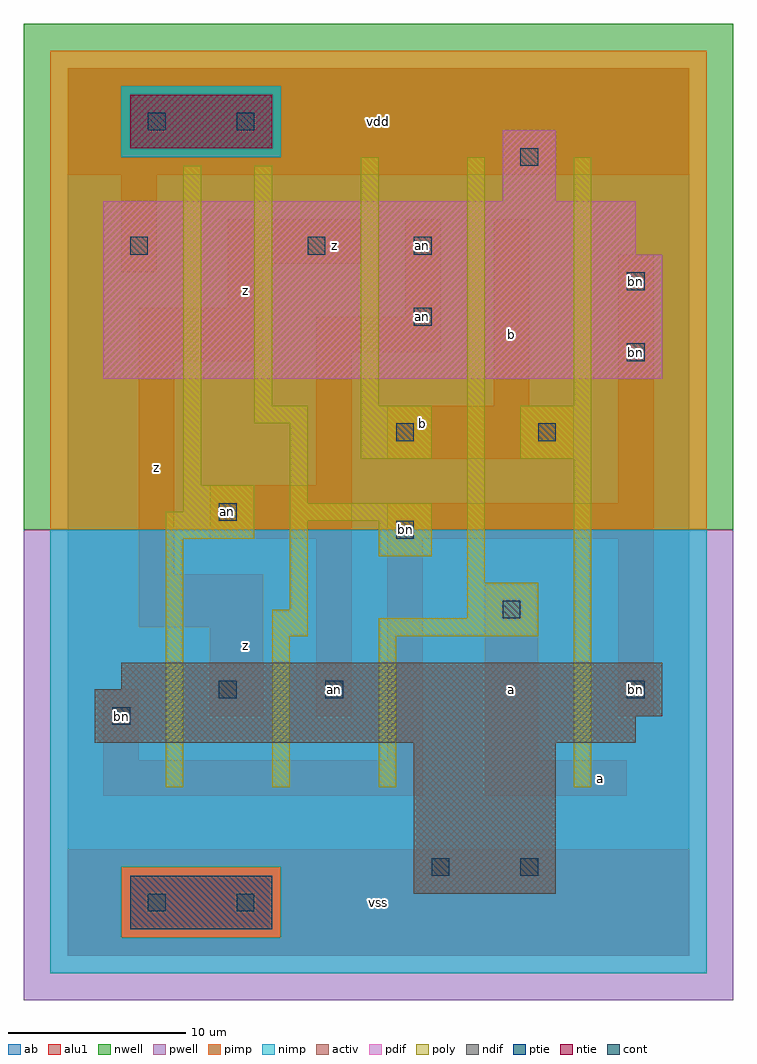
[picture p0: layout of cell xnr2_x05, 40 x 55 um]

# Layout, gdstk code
import gdstk
lib = gdstk.Library(unit=1e-6, precision=1e-09)
def R(c, l, rs):  # rectangles x0, y0, x1, y1
    for r in rs: c.add(gdstk.rectangle(r[:2], r[2:], *l))
ndif = (3, 0)
pdif = (4, 0)
ntie = (5, 0)
ptie = (6, 0)
cont = (25, 0)
pwell = (41, 0)
nwell = (42, 0)
activ = (43, 0)
pimp = (44, 0)
nimp = (45, 0)
poly = (46, 0)
alu1 = (49, 0)
ab = (63, 0)

xnr2_x05 = lib.new_cell('xnr2_x05')
R(xnr2_x05, ndif, [(19.5,3.5,27.5,12), (1.5,12,32,13.5), (1.5,13.5,33.5,15), (3,15,33.5,16.5)])
R(xnr2_x05, pdif, [(2,32.5,33.5,39.5), (2,39.5,32,42.5), (24.5,42.5,27.5,46.5)])
R(xnr2_x05, ntie, [(3.5,45.5,11.5,48.5)])
R(xnr2_x05, ptie, [(3.5,1.5,11.5,4.5)])
R(xnr2_x05, cont, [(4.5,2.5,5.5,3.5), (9.5,2.5,10.5,3.5), (20.5,4.5,21.5,5.5), (25.5,4.5,26.5,5.5), (2.5,13,3.5,14), (8.5,14.5,9.5,15.5), (14.5,14.5,15.5,15.5), (31.5,14.5,32.5,15.5), (24.5,19,25.5,20), (18.5,23.5,19.5,24.5), (8.5,24.5,9.5,25.5), (18.5,29,19.5,30), (26.5,29,27.5,30), (31.5,33.5,32.5,34.5), (19.5,35.5,20.5,36.5), (31.5,37.5,32.5,38.5), (3.5,39.5,4.5,40.5), (13.5,39.5,14.5,40.5), (19.5,39.5,20.5,40.5), (25.5,44.5,26.5,45.5), (4.5,46.5,5.5,47.5), (9.5,46.5,10.5,47.5)])
R(xnr2_x05, pwell, [(-2.5,-2.5,37.5,24)])
R(xnr2_x05, nwell, [(-2.5,24,37.5,52.5)])
R(xnr2_x05, activ, [(3.5,1.5,11.5,4.5), (19.5,3.5,27.5,12), (1.5,12,32,13.5), (1.5,13.5,33.5,15), (3,15,33.5,16.5), (2,32.5,33.5,39.5), (2,39.5,32,42.5), (24.5,42.5,27.5,46.5), (3.5,45.5,11.5,48.5)])
R(xnr2_x05, pimp, [(3,1,12,5), (-1,24,36,45), (-1,45,3,49), (12,45,36,49), (-1,49,36,51)])
R(xnr2_x05, nimp, [(-1,-1,36,1), (-1,1,3,5), (12,1,36,5), (-1,5,36,24), (3,45,12,49)])
R(xnr2_x05, poly, [(5.5,9.5,6.5,23.5), (11.5,9.5,12.5,18), (17.5,9.5,18.5,18), (28.5,9.5,29.5,28), (11.5,18,13.5,19.5), (17.5,18,26.5,19), (22.5,19,26.5,21), (12.5,19.5,13.5,24.5), (22.5,21,23.5,45), (17.5,22.5,20.5,24.5), (5.5,23.5,10.5,25), (12.5,24.5,20.5,25.5), (6.5,25,10.5,26.5), (12.5,25.5,13.5,30), (6.5,26.5,7.5,44.5), (16.5,28,20.5,31), (25.5,28,29.5,31), (10.5,30,13.5,31), (10.5,31,11.5,44.5), (16.5,31,17.5,45), (28.5,31,29.5,45)])
R(xnr2_x05, alu1, [(0,0,35,6), (0,0,35,6), (2,9,20,11), (2,9,20,11), (23.5,9,31.5,11), (23.5,9,31.5,11), (2,11,4,15), (2,11,4,15), (18,11,20,23.5), (18,11,20,23.5), (23.5,11,26.5,21), (23.5,11,26.5,21), (8,13.5,11,18.5), (8,13.5,11,18.5), (14,13.5,16,23.5), (14,13.5,16,23.5), (31,13.5,33,23.5), (31,13.5,33,23.5), (4,18.5,11,21.5), (4,18.5,11,21.5), (4,21.5,6,33.5), (4,21.5,6,33.5), (8,23.5,16,26.5), (8,23.5,16,26.5), (18,23.5,33,25.5), (18,23.5,33,25.5), (31,25.5,33,39.5), (31,25.5,33,39.5), (14,26.5,16,34), (14,26.5,16,34), (18,28,28.5,31), (18,28,28.5,31), (24,31,26,41.5), (24,31,26,41.5), (4,33.5,11,36.5), (4,33.5,11,36.5), (14,34,21,36), (14,34,21,36), (19,36,21,41.5), (19,36,21,41.5), (9,36.5,11,39), (9,36.5,11,39), (3,38.5,5,44), (3,38.5,5,44), (9,39,16.5,41.5), (9,39,16.5,41.5), (0,44,35,50), (0,44,35,50)])
R(xnr2_x05, ab, [(0,0,35,50)])
xnr2_x05.add(gdstk.Label('bn', (3,13.5), layer=49, texttype=0))
xnr2_x05.add(gdstk.Label('an', (15,15), layer=49, texttype=0))
xnr2_x05.add(gdstk.Label('an', (9,25), layer=49, texttype=0))
xnr2_x05.add(gdstk.Label('bn', (19,24), layer=49, texttype=0))
xnr2_x05.add(gdstk.Label('an', (20,36), layer=49, texttype=0))
xnr2_x05.add(gdstk.Label('an', (20,40), layer=49, texttype=0))
xnr2_x05.add(gdstk.Label('bn', (32,15), layer=49, texttype=0))
xnr2_x05.add(gdstk.Label('bn', (32,34), layer=49, texttype=0))
xnr2_x05.add(gdstk.Label('bn', (32,38), layer=49, texttype=0))
xnr2_x05.add(gdstk.Label('z', (5,27.5), layer=49, texttype=0))
xnr2_x05.add(gdstk.Label('z', (10,17.5), layer=49, texttype=0))
xnr2_x05.add(gdstk.Label('z', (10,37.5), layer=49, texttype=0))
xnr2_x05.add(gdstk.Label('z', (15,40), layer=49, texttype=0))
xnr2_x05.add(gdstk.Label('vss', (17.5,3), layer=49, texttype=0))
xnr2_x05.add(gdstk.Label('a', (25,15), layer=49, texttype=0))
xnr2_x05.add(gdstk.Label('b', (25,35), layer=49, texttype=0))
xnr2_x05.add(gdstk.Label('b', (20,30), layer=49, texttype=0))
xnr2_x05.add(gdstk.Label('vdd', (17.5,47), layer=49, texttype=0))
xnr2_x05.add(gdstk.Label('a', (30,10), layer=49, texttype=0))

lib.write_gds('xnr2_x05.gds')
